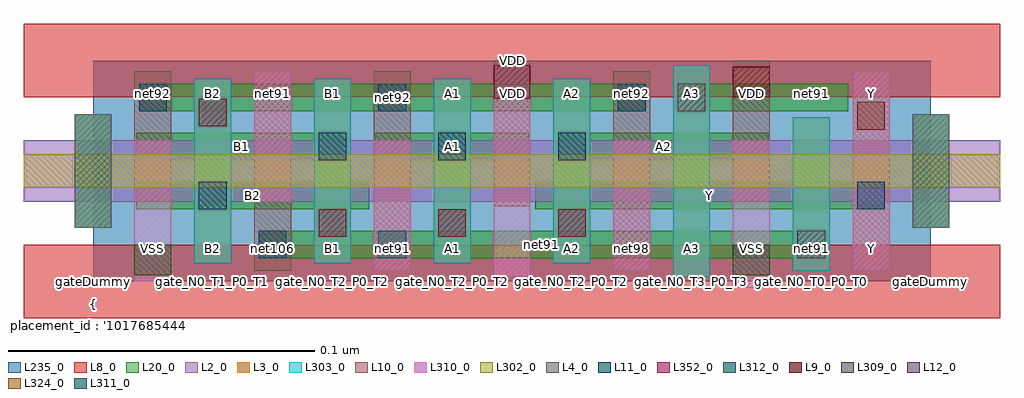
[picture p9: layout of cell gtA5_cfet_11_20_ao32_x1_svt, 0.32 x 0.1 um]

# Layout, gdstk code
import gdstk
lib = gdstk.Library(unit=1e-6, precision=2.5e-10)
def R(c, l, rs):  # rectangles x0, y0, x1, y1
    for r in rs: c.add(gdstk.rectangle(r[:2], r[2:], *l))
def A(c, l, x, y, w, h, nx, ny, dx, dy):  # array of equal rectangles
    R(c, l, [(x+i*dx, y+j*dy, x+i*dx+w, y+j*dy+h) for i in range(nx) for j in range(ny)])
L2_0 = (2, 0)
L3_0 = (3, 0)
L4_0 = (4, 0)
L8_0 = (8, 0)
L9_0 = (9, 0)
L10_0 = (10, 0)
L11_0 = (11, 0)
L12_0 = (12, 0)
L20_0 = (20, 0)
L235_0 = (235, 0)
L302_0 = (302, 0)
L303_0 = (303, 0)
L309_0 = (309, 0)
L310_0 = (310, 0)
L311_0 = (311, 0)
L312_0 = (312, 0)
L324_0 = (324, 0)
L352_0 = (352, 0)

gta5_cfet_11_20_ao32_x1_ = lib.new_cell('gtA5_cfet_11_20_ao32_x1_svt')
R(gta5_cfet_11_20_ao32_x1_, L2_0, [(-0.0225,0.026,0.2955,0.046)])
A(gta5_cfet_11_20_ao32_x1_, L3_0, 0.033, 0.006, 0.012, 0.06, 4, 1, 0.039, 0)
R(gta5_cfet_11_20_ao32_x1_, L3_0, [(0.189,0.0015,0.201,0.0705), (0.228,0.0035,0.24,0.0535), (-0.006,0.0175,0.006,0.0545), (0.267,0.0175,0.279,0.0545)])
R(gta5_cfet_11_20_ao32_x1_, L4_0, [(-0.006,0.0175,0.006,0.0545), (0.267,0.0175,0.279,0.0545)])
R(gta5_cfet_11_20_ao32_x1_, L8_0, [(-0.0225,-0.012,0.2955,0.012), (-0.0225,0.06,0.2955,0.084)])
R(gta5_cfet_11_20_ao32_x1_, L9_0, [(0.1305,0.0595,0.1425,0.0705), (0.2085,0.06,0.2205,0.07)])
A(gta5_cfet_11_20_ao32_x1_, L10_0, 0.0915, 0.0035, 0.012, 0.065, 3, 1, 0.078, 0)
R(gta5_cfet_11_20_ao32_x1_, L10_0, [(0.0525,0.0035,0.0645,0.0685), (0.1305,0.0245,0.1425,0.072), (0.0135,0.026,0.0255,0.0685), (0.2085,0.026,0.2205,0.072)])
A(gta5_cfet_11_20_ao32_x1_, L11_0, 0.015, 0.0555, 0.009, 0.009, 3, 1, 0.078, 0)
R(gta5_cfet_11_20_ao32_x1_, L11_0, [(0.054,0.0075,0.063,0.0165), (0.249,0.0235,0.258,0.0325)])
R(gta5_cfet_11_20_ao32_x1_, L12_0, [(0.2295,0.0075,0.2385,0.0165), (0.1905,0.0555,0.1995,0.0645)])
R(gta5_cfet_11_20_ao32_x1_, L20_0, [(0.054,0.0075,0.2385,0.0165), (0.014,0.0235,0.09,0.0325), (0.144,0.0235,0.258,0.0325), (0.014,0.0395,0.0825,0.0485), (0.092,0.0395,0.142,0.0485), (0.1515,0.0395,0.22,0.0485), (0.015,0.0555,0.18,0.0645), (0.1905,0.0555,0.246,0.0645)])
R(gta5_cfet_11_20_ao32_x1_, L235_0, [(0,0,0.273,0.072)])
R(gta5_cfet_11_20_ao32_x1_, L302_0, [(-0.0225,0.0305,0.2955,0.0415)])
A(gta5_cfet_11_20_ao32_x1_, L303_0, 0.033, 0.006, 0.012, 0.06, 4, 1, 0.039, 0)
R(gta5_cfet_11_20_ao32_x1_, L303_0, [(0.189,0.0015,0.201,0.0705), (0.228,0.0035,0.24,0.0535), (-0.006,0.0175,0.006,0.0545), (0.267,0.0175,0.279,0.0545)])
R(gta5_cfet_11_20_ao32_x1_, L309_0, [(0.0135,0.002,0.0255,0.012), (0.2085,0.002,0.2205,0.012)])
R(gta5_cfet_11_20_ao32_x1_, L310_0, [(0.2085,-0.002,0.2205,0.046), (0.0135,0,0.0255,0.046), (0.1305,0.0015,0.1425,0.0705), (0.0915,0.0035,0.1035,0.046), (0.1695,0.0035,0.1815,0.046), (0.2475,0.0035,0.2595,0.0685), (0.0525,0.026,0.0645,0.0685)])
R(gta5_cfet_11_20_ao32_x1_, L311_0, [(0.093,0.0075,0.102,0.0165)])
A(gta5_cfet_11_20_ao32_x1_, L312_0, 0.0735, 0.0395, 0.009, 0.009, 3, 1, 0.039, 0)
R(gta5_cfet_11_20_ao32_x1_, L312_0, [(0.0345,0.0235,0.0435,0.0325)])
R(gta5_cfet_11_20_ao32_x1_, L324_0, [(0.249,0.0495,0.258,0.0585)])
A(gta5_cfet_11_20_ao32_x1_, L352_0, 0.0735, 0.0145, 0.009, 0.009, 3, 1, 0.039, 0)
R(gta5_cfet_11_20_ao32_x1_, L352_0, [(0.0345,0.0505,0.0435,0.0595)])
gta5_cfet_11_20_ao32_x1_.add(gdstk.Label('net91', (0.1462,0.012), layer=100, texttype=100))
gta5_cfet_11_20_ao32_x1_.add(gdstk.Label('net92', (0.0975,0.06), layer=100, texttype=100))
gta5_cfet_11_20_ao32_x1_.add(gdstk.Label('gateDummy', (0,0), layer=103, texttype=103))
gta5_cfet_11_20_ao32_x1_.add(gdstk.Label('sd_N0_VSS_P0_T3', (0.0195,0), layer=103, texttype=103))
gta5_cfet_11_20_ao32_x1_.add(gdstk.Label('gate_N0_T1_P0_T1', (0.039,0), layer=103, texttype=103))
gta5_cfet_11_20_ao32_x1_.add(gdstk.Label('sd_N0_abut_P0_T0', (0.0585,0), layer=103, texttype=103))
gta5_cfet_11_20_ao32_x1_.add(gdstk.Label('gate_N0_T2_P0_T2', (0.078,0), layer=103, texttype=103))
gta5_cfet_11_20_ao32_x1_.add(gdstk.Label('sd_N0_T0_P0_T3', (0.0975,0), layer=103, texttype=103))
gta5_cfet_11_20_ao32_x1_.add(gdstk.Label('gate_N0_T2_P0_T2', (0.117,0), layer=103, texttype=103))
gta5_cfet_11_20_ao32_x1_.add(gdstk.Label('sd_P0_VDD', (0.1365,0), layer=103, texttype=103))
gta5_cfet_11_20_ao32_x1_.add(gdstk.Label('gate_N0_T2_P0_T2', (0.156,0), layer=103, texttype=103))
gta5_cfet_11_20_ao32_x1_.add(gdstk.Label('sd_N0_abut_P0_T3', (0.1755,0), layer=103, texttype=103))
gta5_cfet_11_20_ao32_x1_.add(gdstk.Label('gate_N0_T3_P0_T3', (0.195,0), layer=103, texttype=103))
gta5_cfet_11_20_ao32_x1_.add(gdstk.Label('sd_N0_VSS_P0_VDD', (0.2145,0), layer=103, texttype=103))
gta5_cfet_11_20_ao32_x1_.add(gdstk.Label('gate_N0_T0_P0_T0', (0.234,0), layer=103, texttype=103))
gta5_cfet_11_20_ao32_x1_.add(gdstk.Label('sd_N0_T1_P0_T1', (0.2535,0), layer=103, texttype=103))
gta5_cfet_11_20_ao32_x1_.add(gdstk.Label('gateDummy', (0.273,0), layer=103, texttype=103))
gta5_cfet_11_20_ao32_x1_.add(gdstk.Label('}', (0,-0.0785), layer=104, texttype=104))
gta5_cfet_11_20_ao32_x1_.add(gdstk.Label('  power : None', (0,-0.0713), layer=104, texttype=104))
gta5_cfet_11_20_ao32_x1_.add(gdstk.Label('  performance : None', (0,-0.0643), layer=104, texttype=104))
gta5_cfet_11_20_ao32_x1_.add(gdstk.Label("  solution_hash : '16002618584560605511'", (0,-0.057), layer=104, texttype=104))
gta5_cfet_11_20_ao32_x1_.add(gdstk.Label('  number_m2 : 0', (0,-0.05), layer=104, texttype=104))
gta5_cfet_11_20_ao32_x1_.add(gdstk.Label('  number_m1 : 0', (0,-0.0428), layer=104, texttype=104))
gta5_cfet_11_20_ao32_x1_.add(gdstk.Label('  number_m0cuts : 0', (0,-0.0358), layer=104, texttype=104))
gta5_cfet_11_20_ao32_x1_.add(gdstk.Label('  number_m0 : 8', (0,-0.0285), layer=104, texttype=104))
gta5_cfet_11_20_ao32_x1_.add(gdstk.Label("  solution_number : '0000'", (0,-0.0215), layer=104, texttype=104))
gta5_cfet_11_20_ao32_x1_.add(gdstk.Label("  placement_id : '10176854443781350041'", (0,-0.0143), layer=104, texttype=104))
gta5_cfet_11_20_ao32_x1_.add(gdstk.Label('{', (0,-0.0073), layer=104, texttype=104))
gta5_cfet_11_20_ao32_x1_.add(gdstk.Label('VSS', (0.0195,0.0108), layer=105, texttype=105))
gta5_cfet_11_20_ao32_x1_.add(gdstk.Label('B2', (0.039,0.0108), layer=105, texttype=105))
gta5_cfet_11_20_ao32_x1_.add(gdstk.Label('net106', (0.0585,0.0108), layer=105, texttype=105))
gta5_cfet_11_20_ao32_x1_.add(gdstk.Label('B1', (0.078,0.0108), layer=105, texttype=105))
gta5_cfet_11_20_ao32_x1_.add(gdstk.Label('net91', (0.0975,0.0108), layer=105, texttype=105))
gta5_cfet_11_20_ao32_x1_.add(gdstk.Label('A1', (0.117,0.0108), layer=105, texttype=105))
gta5_cfet_11_20_ao32_x1_.add(gdstk.Label('net97', (0.1365,0.0108), layer=105, texttype=105))
gta5_cfet_11_20_ao32_x1_.add(gdstk.Label('A2', (0.156,0.0108), layer=105, texttype=105))
gta5_cfet_11_20_ao32_x1_.add(gdstk.Label('net98', (0.1755,0.0108), layer=105, texttype=105))
gta5_cfet_11_20_ao32_x1_.add(gdstk.Label('A3', (0.195,0.0108), layer=105, texttype=105))
gta5_cfet_11_20_ao32_x1_.add(gdstk.Label('VSS', (0.2145,0.0108), layer=105, texttype=105))
gta5_cfet_11_20_ao32_x1_.add(gdstk.Label('net91', (0.234,0.0108), layer=105, texttype=105))
gta5_cfet_11_20_ao32_x1_.add(gdstk.Label('Y', (0.2535,0.0108), layer=105, texttype=105))
gta5_cfet_11_20_ao32_x1_.add(gdstk.Label('net92', (0.0195,0.0612), layer=105, texttype=105))
gta5_cfet_11_20_ao32_x1_.add(gdstk.Label('B2', (0.039,0.0612), layer=105, texttype=105))
gta5_cfet_11_20_ao32_x1_.add(gdstk.Label('net91', (0.0585,0.0612), layer=105, texttype=105))
gta5_cfet_11_20_ao32_x1_.add(gdstk.Label('B1', (0.078,0.0612), layer=105, texttype=105))
gta5_cfet_11_20_ao32_x1_.add(gdstk.Label('net92', (0.0975,0.0612), layer=105, texttype=105))
gta5_cfet_11_20_ao32_x1_.add(gdstk.Label('A1', (0.117,0.0612), layer=105, texttype=105))
gta5_cfet_11_20_ao32_x1_.add(gdstk.Label('VDD', (0.1365,0.0612), layer=105, texttype=105))
gta5_cfet_11_20_ao32_x1_.add(gdstk.Label('A2', (0.156,0.0612), layer=105, texttype=105))
gta5_cfet_11_20_ao32_x1_.add(gdstk.Label('net92', (0.1755,0.0612), layer=105, texttype=105))
gta5_cfet_11_20_ao32_x1_.add(gdstk.Label('A3', (0.195,0.0612), layer=105, texttype=105))
gta5_cfet_11_20_ao32_x1_.add(gdstk.Label('VDD', (0.2145,0.0612), layer=105, texttype=105))
gta5_cfet_11_20_ao32_x1_.add(gdstk.Label('net91', (0.234,0.0612), layer=105, texttype=105))
gta5_cfet_11_20_ao32_x1_.add(gdstk.Label('Y', (0.2535,0.0612), layer=105, texttype=105))
gta5_cfet_11_20_ao32_x1_.add(gdstk.Label('VSS', (0.1365,0), layer=8, texttype=0))
gta5_cfet_11_20_ao32_x1_.add(gdstk.Label('VDD', (0.1365,0.072), layer=8, texttype=0))
gta5_cfet_11_20_ao32_x1_.add(gdstk.Label('B2', (0.052,0.028), layer=20, texttype=251))
gta5_cfet_11_20_ao32_x1_.add(gdstk.Label('Y', (0.201,0.028), layer=20, texttype=251))
gta5_cfet_11_20_ao32_x1_.add(gdstk.Label('B1', (0.0483,0.044), layer=20, texttype=251))
gta5_cfet_11_20_ao32_x1_.add(gdstk.Label('A1', (0.117,0.044), layer=20, texttype=251))
gta5_cfet_11_20_ao32_x1_.add(gdstk.Label('A2', (0.1857,0.044), layer=20, texttype=251))
gta5_cfet_11_20_ao32_x1_.add(gdstk.Label('A3', (0.2182,0.06), layer=20, texttype=251))
gta5_cfet_11_20_ao32_x1_.add(gdstk.Label('gtA5_cfet_11_20_ao32_x1_rvt_0', (0,0), layer=235, texttype=0))

lib.write_gds('gtA5_cfet_11_20_ao32_x1_svt.gds')
